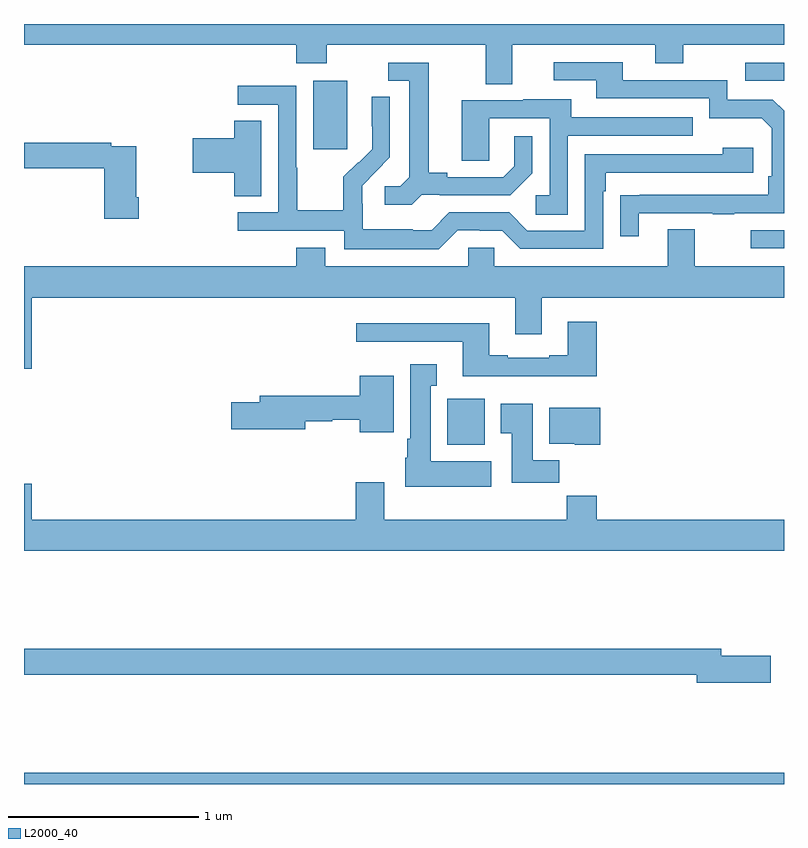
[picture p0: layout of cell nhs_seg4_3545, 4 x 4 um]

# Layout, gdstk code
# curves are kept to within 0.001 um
import gdstk
lib = gdstk.Library(unit=1e-6, precision=1e-09)
def R(c, l, rs):  # rectangles x0, y0, x1, y1
    for r in rs: c.add(gdstk.rectangle(r[:2], r[2:], *l))
def P(c, l, *ps):  # polygons
    for p in ps: c.add(gdstk.Polygon(p, *l))
L2000_40 = (2000, 40)

nhs_seg4_3545 = lib.new_cell('nhs_seg4_3545')
R(nhs_seg4_3545, L2000_40, [(297,820.9,301,820.96), (299.228,822.686,299.425,822.928), (300.825,823.719,301,823.815), (298.523,824.241,298.702,824.602), (300.795,824.601,301,824.697)])
P(nhs_seg4_3545, L2000_40, [(299.569,824.792),(300.323,824.792),(300.323,824.693),(300.471,824.693),(300.471,824.792),(301,824.792),(301,824.9),(297,824.9),(297,824.792),(298.433,824.792),(298.433,824.693),(298.593,824.693),(298.593,824.792),(299.429,824.792),(299.429,824.584),(299.569,824.584)],
  [(300.235,823.905),(300.625,823.905),(300.625,823.9),(300.737,823.9),(300.737,823.905),(301,823.905),(301,824.444),(300.942,824.502),(300.702,824.502),(300.702,824.604),(300.151,824.604),(300.151,824.7),(299.787,824.7),(299.787,824.604),(300.011,824.604),(300.011,824.508),(300.606,824.508),(300.606,824.405),(300.883,824.405),(300.936,824.352),(300.936,824.098),(300.916,824.098),(300.916,824.001),(300.139,824),(300.139,823.782),(300.235,823.782)],
  [(299.094,824.001),(299.188,824.001),(299.188,823.998),(299.56,823.998),(299.676,824.114),(299.676,824.308),(299.579,824.308),(299.579,824.151),(299.522,824.094),(299.227,824.094),(299.227,824.117),(299.131,824.117),(299.131,824.697),(298.917,824.697),(298.917,824.601),(299.027,824.601),(299.027,824.093),(298.98,824.046),(298.899,824.046),(298.899,823.949),(299.042,823.949)],
  [(299.283,823.815),(299.399,823.815),(299.399,823.812),(299.517,823.812),(299.613,823.716),(300.048,823.716),(300.048,824.021),(300.061,824.021),(300.061,824.118),(300.838,824.118),(300.838,824.248),(300.677,824.248),(300.677,824.214),(299.952,824.214),(299.952,823.812),(299.649,823.812),(299.553,823.908),(299.238,823.908),(299.145,823.815),(299.045,823.815),(299.045,823.819),(298.782,823.819),(298.782,823.953),(298.78,823.953),(298.78,824.05),(298.926,824.198),(298.926,824.516),(298.83,824.516),(298.83,824.362),(298.832,824.362),(298.832,824.24),(298.761,824.169),(298.758,824.172),(298.681,824.095),(298.681,823.921),(298.437,823.921),(298.437,824.144),(298.434,824.144),(298.434,824.574),(298.125,824.574),(298.125,824.475),(298.338,824.475),(298.338,823.908),(298.125,823.908),(298.125,823.812),(298.686,823.812),(298.686,823.715),(299.183,823.715)],
  [(299.862,824.313),(300.521,824.313),(300.521,824.409),(299.881,824.409),(299.881,824.503),(299.627,824.503),(299.627,824.499),(299.303,824.499),(299.303,824.179),(299.448,824.179),(299.448,824.403),(299.766,824.403),(299.766,823.998),(299.694,823.998),(299.694,823.897),(299.862,823.897)],
  [(298.249,824.39),(298.106,824.39),(298.106,824.3),(297.888,824.3),(297.888,824.117),(298.106,824.117),(298.106,823.993),(298.249,823.993)],
  [(297.605,823.987),(297.592,823.987),(297.592,824.256),(297.458,824.256),(297.458,824.276),(297,824.276),(297,824.14),(297.422,824.14),(297.422,823.875),(297.605,823.875)],
  [(297.04,823.46),(299.585,823.46),(299.585,823.266),(299.725,823.266),(299.725,823.46),(301,823.46),(301,823.624),(300.529,823.624),(300.529,823.819),(300.389,823.819),(300.389,823.624),(299.475,823.624),(299.475,823.722),(299.337,823.722),(299.337,823.624),(298.585,823.624),(298.585,823.723),(298.433,823.723),(298.433,823.624),(297,823.624),(297,823.086),(297.04,823.086)],
  [(300.014,823.333),(299.861,823.333),(299.861,823.156),(299.765,823.156),(299.765,823.143),(299.545,823.143),(299.545,823.156),(299.449,823.156),(299.449,823.324),(298.749,823.324),(298.749,823.227),(299.309,823.227),(299.309,823.046),(300.014,823.046)],
  [(299.458,822.598),(299.14,822.598),(299.14,822.995),(299.173,822.995),(299.173,823.108),(299.033,823.108),(299.033,822.718),(299.018,822.718),(299.018,822.618),(299.006,822.618),(299.006,822.464),(299.458,822.464)],
  [(298.945,823.048),(298.766,823.048),(298.766,822.944),(298.241,822.944),(298.241,822.908),(298.092,822.908),(298.092,822.766),(298.48,822.766),(298.48,822.808),(298.623,822.808),(298.623,822.816),(298.766,822.816),(298.766,822.752),(298.945,822.752)],
  [(299.816,822.604),(299.677,822.604),(299.677,822.901),(299.51,822.901),(299.51,822.745),(299.567,822.745),(299.567,822.486),(299.816,822.486)],
  [(300.034,822.88),(299.765,822.88),(299.765,822.692),(299.898,822.692),(299.898,822.686),(300.034,822.686)],
  [(301,822.292),(300.014,822.292),(300.014,822.416),(299.857,822.416),(299.857,822.292),(298.897,822.292),(298.897,822.487),(298.745,822.487),(298.745,822.292),(297.04,822.292),(297.04,822.481),(297,822.481),(297,822.128),(301,822.128)],
  [(300.931,821.576),(300.67,821.576),(300.67,821.612),(297,821.612),(297,821.476),(300.542,821.476),(300.542,821.434),(300.931,821.434)])

lib.write_gds('nhs_seg4_3545.gds')
